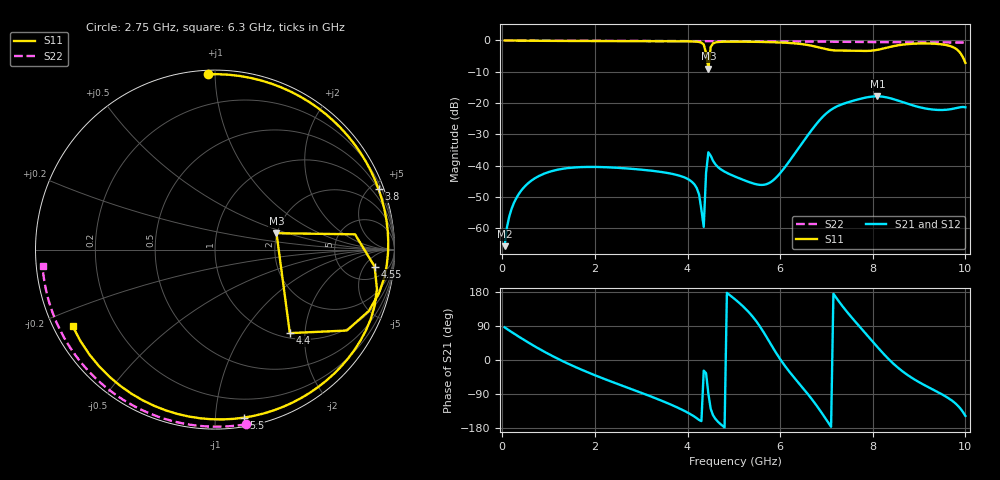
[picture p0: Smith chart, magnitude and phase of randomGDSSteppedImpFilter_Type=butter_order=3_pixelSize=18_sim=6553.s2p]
! freq	dB(S11)	phase(S11)	dB(S12)	phase(S12)
!  dB(S21)	phase(S21)	dB(S22)	phase(S22)
!S-par simulation data
#  GHz  S  DB  R 50
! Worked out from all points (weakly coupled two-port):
!   200 points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, 50 MHz to 10 GHz, reference 50 ohm
!   highest |S21| = -17.83 dB at 8.1 GHz (marker M1); lowest = -65.7 dB at 50 MHz (marker M2)
!   lowest |S11| = -9.0 dB at 4.45 GHz (marker M3), VSWR 2.10, Z = 99.2 + j20.7 ohm
!   |S11| at or under -10 dB: nowhere
!   |S22| runs from -0.7 to 0.0 dB; largest |S21 - S12| = 0
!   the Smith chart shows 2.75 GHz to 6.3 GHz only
!   S11 on the Smith chart (normalised r, x): 2.75 GHz: 0.02, +0.96; 3.8 GHz: 0.46, +5.57; 4.4 GHz: 1.10, -1.67; 4.55 GHz: 9, -9; 5.5 GHz: 0.06, -1.18; 6.3 GHz: 0.06, -0.25
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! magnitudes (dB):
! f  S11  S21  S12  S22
! 50 MHz  0.0  -65.7  -65.7  0.0
! 200 MHz  0.0  -53.8  -53.8  0.0
! 500 MHz  -0.1  -46.4  -46.4  0.0
! 1.75 GHz  -0.2  -40.4  -40.4  -0.1
! 2.75 GHz  -0.2  -40.9  -40.9  -0.1
! 3.4 GHz  -0.2  -41.9  -41.9  -0.1
! 3.8 GHz  -0.2  -43.0  -43.0  -0.1
! 4.2 GHz  -0.4  -47.2  -47.2  -0.2
! 4.35 GHz  -1.3  -59.5  -59.5  -0.2
! 4.4 GHz  -4.1  -42.2  -42.2  -0.2
! 4.45 GHz  -9.0  -35.7  -35.7  -0.2
! 4.5 GHz  -2.1  -36.8  -36.8  -0.2
! 4.55 GHz  -1.0  -38.4  -38.4  -0.2
! 5.05 GHz  -0.4  -43.6  -43.6  -0.2
! 5.5 GHz  -0.4  -46.0  -46.0  -0.2
! 6.3 GHz  -0.9  -36.4  -36.4  -0.3
! 6.7 GHz  -1.7  -28.2  -28.2  -0.4
! 7.2 GHz  -3.2  -21.2  -21.2  -0.4
! 8.1 GHz  -3.0  -17.8  -17.8  -0.6
! 8.35 GHz  -2.1  -18.3  -18.3  -0.6
! 9.6 GHz  -1.5  -22.1  -22.1  -0.6
! 10 GHz  -7.2  -21.3  -21.3  -0.7
